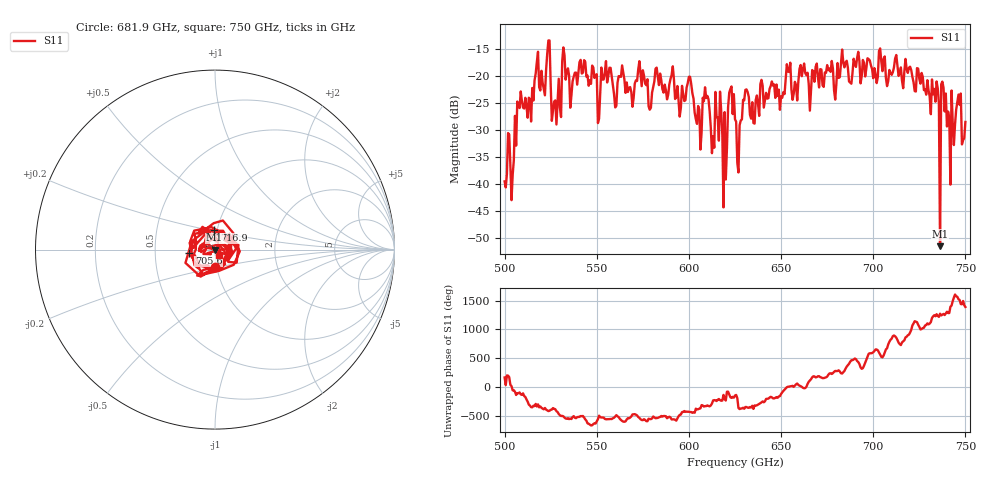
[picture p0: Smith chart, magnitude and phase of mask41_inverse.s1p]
!Created with skrf (http://scikit-rf.org).
# GHz S MA R 50.0
!freq magS11 angS11
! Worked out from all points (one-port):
!   401 points, 500 GHz to 750 GHz, reference 50 ohm
!   lowest |S11| = -51.4 dB at 736.2 GHz (marker M1), VSWR 1.01, Z = 49.7 - j0.0664 ohm
!   |S11| at or under -10 dB: start of sweep to end of sweep
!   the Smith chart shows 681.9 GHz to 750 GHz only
!   S11 on the Smith chart (normalised r, x): 681.9 GHz: 0.98, -0.19; 705.6 GHz: 0.75, -0.03; 716.9 GHz: 0.97, +0.22; 750 GHz: 1.05, -0.06
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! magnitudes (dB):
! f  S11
! 500 GHz  -39.5
! 505 GHz  -35.6
! 508.1 GHz  -25.9
! 523.8 GHz  -13.4
! 526.9 GHz  -24.7
! 531.2 GHz  -17.2
! 562.5 GHz  -20.0
! 593.8 GHz  -21.8
! 600.6 GHz  -20.1
! 605.6 GHz  -26.2
! 609.4 GHz  -24.1
! 612.5 GHz  -34.2
! 616.9 GHz  -22.9
! 619.4 GHz  -26.6
! 622.5 GHz  -22.4
! 625 GHz  -28.0
! 656.2 GHz  -24.4
! 681.9 GHz  -20.2
! 687.5 GHz  -21.2
! 705.6 GHz  -16.8
! 716.9 GHz  -19.2
! 718.8 GHz  -19.4
! 734.4 GHz  -21.0
! 736.2 GHz  -51.4
! 738.1 GHz  -22.1
! 740.6 GHz  -26.5
! 746.2 GHz  -23.4
! 750 GHz  -28.5
